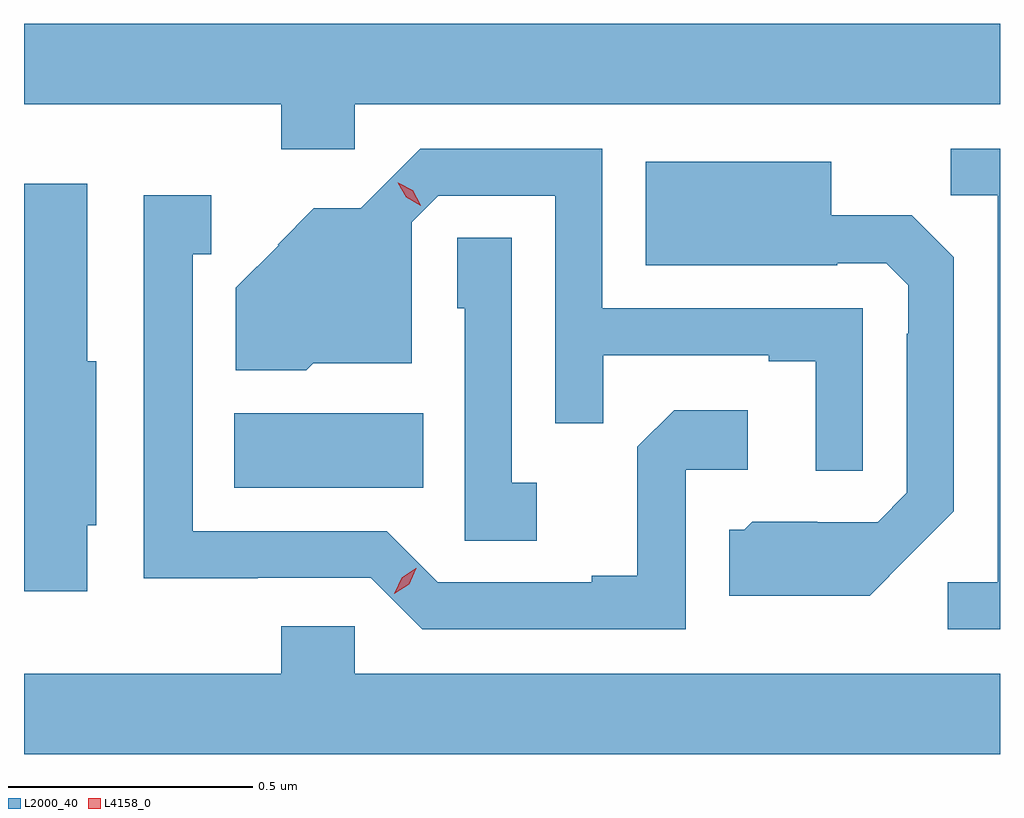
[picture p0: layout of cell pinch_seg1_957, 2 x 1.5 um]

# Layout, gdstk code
import gdstk
lib = gdstk.Library(unit=1e-6, precision=1e-09)
def R(c, l, rs):  # rectangles x0, y0, x1, y1
    for r in rs: c.add(gdstk.rectangle(r[:2], r[2:], *l))
def P(c, l, *ps):  # polygons
    for p in ps: c.add(gdstk.Polygon(p, *l))
L2000_40 = (2000, 40)
L4158_0 = (4158, 0)

pinch_seg1_957 = lib.new_cell('pinch_seg1_957')
R(pinch_seg1_957, L2000_40, [(231.053,545.618,231.44,545.77)])
P(pinch_seg1_957, L2000_40, [(230.622,546.404),(231.149,546.404),(231.149,546.311),(231.3,546.311),(231.3,546.404),(232.622,546.404),(232.622,546.568),(230.622,546.568)],
  [(232.622,546.312),(232.521,546.312),(232.521,546.217),(232.617,546.217),(232.617,545.424),(232.515,545.424),(232.515,545.328),(232.622,545.328)],
  [(232.341,545.985),(231.807,545.985),(231.807,546.312),(231.434,546.312),(231.312,546.19),(231.216,546.19),(231.142,546.116),(231.144,546.115),(231.056,546.027),(231.056,545.858),(231.2,545.858),(231.215,545.873),(231.417,545.873),(231.417,546.162),(231.471,546.216),(231.711,546.216),(231.711,545.75),(231.809,545.75),(231.809,545.889),(232.148,545.889),(232.148,545.877),(232.244,545.877),(232.244,545.652),(232.341,545.652)],
  [(232.435,545.477),(232.527,545.57),(232.527,546.09),(232.441,546.176),(232.276,546.176),(232.276,546.286),(231.896,546.286),(231.896,546.074),(232.289,546.074),(232.289,546.078),(232.389,546.078),(232.434,546.033),(232.434,545.933),(232.431,545.933),(232.431,545.607),(232.371,545.547),(232.248,545.547),(232.248,545.548),(232.114,545.548),(232.098,545.532),(232.067,545.532),(232.067,545.396),(232.355,545.396)],
  [(230.752,545.541),(230.77,545.541),(230.77,545.877),(230.752,545.877),(230.752,546.241),(230.622,546.241),(230.622,545.406),(230.752,545.406)],
  [(231.978,545.655),(232.105,545.655),(232.105,545.776),(231.954,545.776),(231.879,545.702),(231.879,545.437),(231.785,545.437),(231.785,545.424),(231.47,545.424),(231.365,545.529),(230.968,545.529),(230.968,546.096),(231.006,546.096),(231.006,546.217),(230.867,546.217),(230.867,545.432),(231.101,545.432),(231.101,545.433),(231.333,545.433),(231.438,545.328),(231.978,545.328)],
  [(231.673,545.628),(231.621,545.628),(231.621,546.13),(231.51,546.13),(231.51,545.985),(231.525,545.985),(231.525,545.509),(231.673,545.509)],
  [(232.622,545.236),(231.3,545.236),(231.3,545.334),(231.149,545.334),(231.149,545.236),(230.622,545.236),(230.622,545.072),(232.622,545.072)])
P(pinch_seg1_957, L4158_0, [(231.435,546.196),(231.405,546.213),(231.388,546.243),(231.388,546.243),(231.389,546.243),(231.419,546.227),(231.435,546.197),(231.435,546.196)],
  [(231.381,545.4),(231.381,545.4),(231.396,545.433),(231.425,545.453),(231.426,545.453),(231.426,545.453),(231.411,545.42),(231.381,545.4)])

lib.write_gds('pinch_seg1_957.gds')
